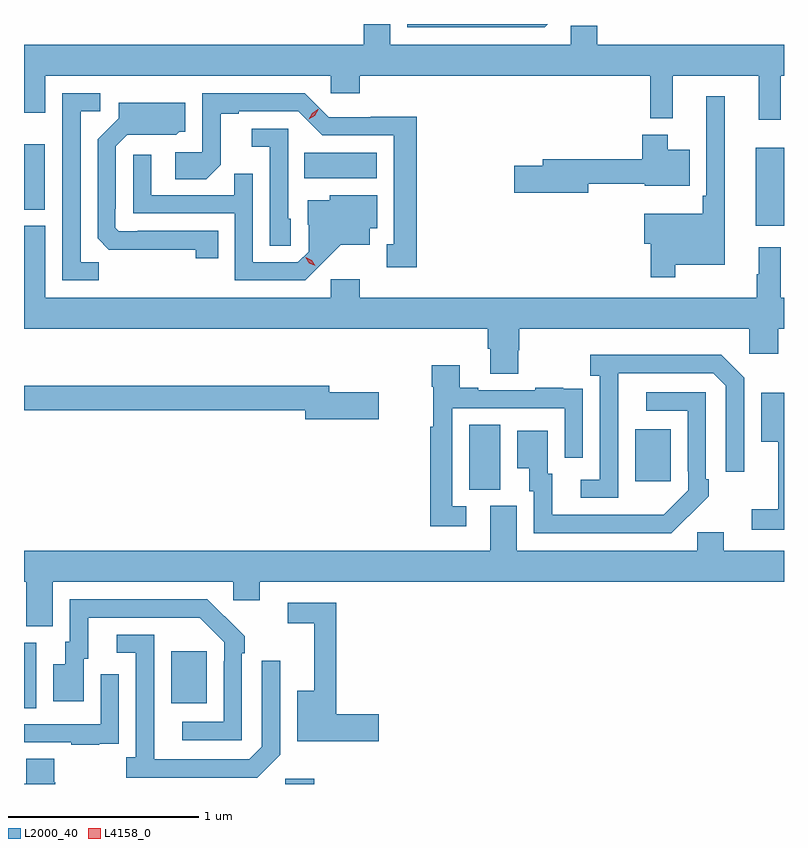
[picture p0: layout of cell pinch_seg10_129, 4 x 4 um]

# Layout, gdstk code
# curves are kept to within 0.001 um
import gdstk
lib = gdstk.Library(unit=1e-6, precision=1e-09)
def R(c, l, rs):  # rectangles x0, y0, x1, y1
    for r in rs: c.add(gdstk.rectangle(r[:2], r[2:], *l))
def P(c, l, *ps):  # polygons
    for p in ps: c.add(gdstk.Polygon(p, *l))
L2000_40 = (2000, 40)
L4158_0 = (4158, 0)

pinch_seg10_129 = lib.new_cell('pinch_seg10_129')
R(pinch_seg10_129, L2000_40, [(712.248,1284.6,712.4,1284.628), (710.873,1285,710.938,1285.344), (711.647,1285.025,711.835,1285.3), (713.216,1286.149,713.38,1286.492), (714.089,1286.193,714.277,1286.467), (714.725,1287.539,714.873,1287.949), (710.873,1287.623,710.983,1287.967), (712.348,1287.788,712.729,1287.922)])
P(pinch_seg10_129, L2000_40, [(713.63,1288.6),(712.89,1288.6),(712.89,1288.584),(713.614,1288.584)],
  [(714.857,1288.328),(714.873,1288.328),(714.873,1288.492),(713.89,1288.492),(713.89,1288.59),(713.751,1288.59),(713.751,1288.492),(712.801,1288.492),(712.801,1288.6),(712.661,1288.6),(712.661,1288.492),(710.873,1288.492),(710.873,1288.134),(710.986,1288.134),(710.986,1288.328),(712.488,1288.328),(712.488,1288.235),(712.64,1288.235),(712.64,1288.328),(714.169,1288.328),(714.169,1288.103),(714.287,1288.103),(714.287,1288.328),(714.74,1288.328),(714.74,1288.095),(714.857,1288.095)],
  [(711.267,1287.347),(711.171,1287.347),(711.171,1288.14),(711.274,1288.14),(711.274,1288.236),(711.075,1288.236),(711.075,1287.252),(711.267,1287.252)],
  [(712.939,1288.112),(712.698,1288.112),(712.698,1288.11),(712.476,1288.11),(712.35,1288.236),(711.81,1288.236),(711.81,1287.924),(711.669,1287.924),(711.669,1287.784),(711.833,1287.784),(711.909,1287.86),(711.909,1288.128),(712.003,1288.128),(712.003,1288.14),(712.317,1288.14),(712.443,1288.014),(712.82,1288.014),(712.82,1287.441),(712.781,1287.441),(712.781,1287.321),(712.939,1287.321)],
  [(714.301,1287.332),(714.562,1287.332),(714.562,1288.219),(714.465,1288.219),(714.465,1287.697),(714.445,1287.697),(714.445,1287.601),(714.138,1287.601),(714.138,1287.443),(714.172,1287.443),(714.172,1287.267),(714.301,1287.267)],
  [(711.896,1287.513),(711.472,1287.513),(711.472,1287.51),(711.372,1287.51),(711.354,1287.528),(711.354,1287.628),(711.357,1287.628),(711.357,1287.957),(711.417,1288.017),(711.674,1288.016),(711.69,1288.032),(711.721,1288.032),(711.721,1288.186),(711.371,1288.186),(711.371,1288.104),(711.261,1287.994),(711.261,1287.472),(711.32,1287.413),(711.778,1287.412),(711.778,1287.366),(711.896,1287.366)],
  [(712.278,1287.576),(712.263,1287.576),(712.263,1288.05),(712.071,1288.05),(712.071,1287.953),(712.167,1287.953),(712.167,1287.433),(712.278,1287.433)],
  [(713.842,1287.76),(714.14,1287.76),(714.14,1287.749),(714.376,1287.749),(714.376,1287.937),(714.262,1287.937),(714.262,1288.018),(714.128,1288.018),(714.128,1287.889),(713.603,1287.889),(713.603,1287.855),(713.454,1287.855),(713.454,1287.713),(713.842,1287.713)],
  [(712.438,1287.335),(712.541,1287.437),(712.693,1287.437),(712.693,1287.524),(712.732,1287.524),(712.732,1287.7),(712.482,1287.7),(712.482,1287.673),(712.367,1287.673),(712.367,1287.544),(712.371,1287.544),(712.371,1287.402),(712.314,1287.345),(712.077,1287.345),(712.077,1287.812),(711.979,1287.812),(711.979,1287.699),(711.543,1287.699),(711.543,1287.913),(711.447,1287.913),(711.447,1287.603),(711.981,1287.603),(711.981,1287.252),(712.354,1287.252)],
  [(713.475,1286.883),(713.48,1286.883),(713.48,1286.996),(714.69,1286.996),(714.69,1286.865),(714.842,1286.865),(714.842,1286.996),(714.873,1286.996),(714.873,1287.16),(714.857,1287.16),(714.857,1287.424),(714.74,1287.424),(714.74,1287.284),(714.729,1287.284),(714.729,1287.16),(712.64,1287.16),(712.64,1287.256),(712.488,1287.256),(712.488,1287.16),(710.986,1287.16),(710.986,1287.538),(710.873,1287.538),(710.873,1286.996),(713.315,1286.996),(713.315,1286.89),(713.327,1286.89),(713.327,1286.758),(713.475,1286.758)],
  [(714,1286.563),(714.001,1286.763),(714.501,1286.763),(714.567,1286.697),(714.567,1286.244),(714.663,1286.244),(714.663,1286.739),(714.542,1286.86),(713.853,1286.86),(713.853,1286.75),(713.904,1286.75),(713.904,1286.202),(713.802,1286.202),(713.802,1286.106),(714,1286.106)],
  [(713.2,1286.061),(713.127,1286.061),(713.127,1286.577),(713.718,1286.577),(713.718,1286.316),(713.814,1286.316),(713.814,1286.57),(713.813,1286.57),(713.813,1286.679),(713.711,1286.679),(713.711,1286.686),(713.563,1286.686),(713.563,1286.673),(713.263,1286.673),(713.263,1286.686),(713.167,1286.686),(713.167,1286.803),(713.018,1286.803),(713.018,1286.69),(713.026,1286.69),(713.026,1286.48),(713.011,1286.48),(713.011,1285.956),(713.2,1285.956)],
  [(712.741,1286.661),(712.48,1286.661),(712.48,1286.695),(710.873,1286.695),(710.873,1286.566),(712.352,1286.566),(712.352,1286.519),(712.741,1286.519)],
  [(714.371,1286.011),(714.372,1286.01),(714.477,1286.115),(714.477,1286.203),(714.462,1286.203),(714.462,1286.661),(714.147,1286.661),(714.147,1286.565),(714.366,1286.565),(714.366,1286.245),(714.369,1286.245),(714.369,1286.145),(714.241,1286.017),(713.653,1286.016),(713.653,1286.232),(713.629,1286.232),(713.629,1286.458),(713.468,1286.458),(713.468,1286.261),(713.531,1286.261),(713.531,1286.142),(713.556,1286.142),(713.556,1285.92),(714.28,1285.92)],
  [(714.873,1286.659),(714.752,1286.659),(714.752,1286.402),(714.842,1286.402),(714.842,1286.047),(714.702,1286.047),(714.702,1285.938),(714.873,1285.938)],
  [(711.025,1285.664),(711.975,1285.664),(711.975,1285.566),(712.114,1285.566),(712.114,1285.664),(714.873,1285.664),(714.873,1285.828),(714.556,1285.828),(714.556,1285.926),(714.417,1285.926),(714.417,1285.828),(713.467,1285.828),(713.467,1286.064),(713.327,1286.064),(713.327,1285.828),(710.873,1285.828),(710.873,1285.664),(710.885,1285.664),(710.885,1285.429),(711.025,1285.429)],
  [(712.02,1285.289),(712.035,1285.289),(712.035,1285.377),(711.838,1285.572),(711.114,1285.572),(711.114,1285.35),(711.089,1285.35),(711.089,1285.231),(711.026,1285.231),(711.026,1285.035),(711.187,1285.035),(711.187,1285.26),(711.211,1285.26),(711.211,1285.476),(711.799,1285.476),(711.927,1285.347),(711.927,1285.247),(711.924,1285.247),(711.924,1284.927),(711.705,1284.927),(711.705,1284.831),(712.02,1284.831)],
  [(712.741,1284.968),(712.517,1284.968),(712.517,1285.554),(712.26,1285.554),(712.26,1285.446),(712.4,1285.446),(712.4,1285.09),(712.31,1285.09),(712.31,1284.826),(712.741,1284.826)],
  [(712.221,1284.753),(712.221,1285.249),(712.125,1285.249),(712.125,1284.795),(712.059,1284.729),(711.559,1284.729),(711.558,1285.386),(711.36,1285.386),(711.36,1285.29),(711.462,1285.29),(711.462,1284.742),(711.411,1284.742),(711.411,1284.632),(712.1,1284.632)],
  [(711.269,1284.813),(711.371,1284.813),(711.371,1284.922),(711.372,1284.922),(711.372,1285.177),(711.276,1285.177),(711.276,1284.915),(710.873,1284.915),(710.873,1284.819),(711.121,1284.819),(711.121,1284.807),(711.269,1284.807)],
  [(711.038,1284.609),(711.033,1284.609),(711.033,1284.734),(710.885,1284.734),(710.885,1284.602),(710.873,1284.602),(710.873,1284.6),(711.038,1284.6)])
P(pinch_seg10_129, L4158_0, [(712.372,1288.099),(712.372,1288.099),(712.389,1288.131),(712.42,1288.151),(712.421,1288.151),(712.421,1288.15),(712.403,1288.118),(712.372,1288.099)],
  [(712.405,1287.327),(712.374,1287.342),(712.357,1287.371),(712.357,1287.372),(712.357,1287.372),(712.388,1287.357),(712.406,1287.327),(712.406,1287.327)])

lib.write_gds('pinch_seg10_129.gds')
